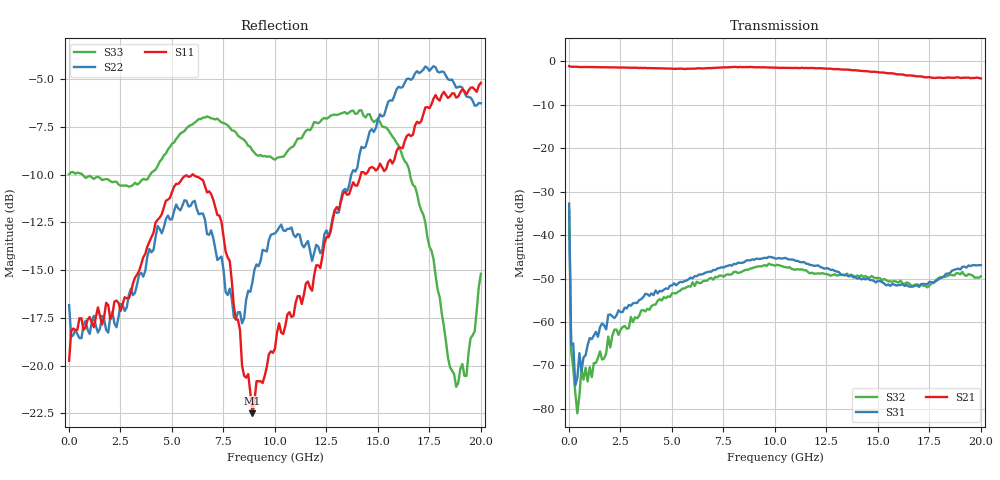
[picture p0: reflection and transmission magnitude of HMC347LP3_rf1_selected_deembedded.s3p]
!Hittite Microwave Corporation
!12 Elizabeth Drive
!Chelmsford, MA 01824
!Tel: 978-250-3343
!Fax: 978-250-3373
!Device: HMC347LP3, DC - 14 GHz GaAs MMIC SPDT Non-Reflective Switch in leadless QFN SMT package
!Misc: Port1=RFC, Port2= RF1, Port3=RF2, RF1 ON, Data includes two SRI SMA sonnectors, Bias: -5VDC
# MHZ S MA R 50
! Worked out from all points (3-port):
!   201 points, 10 MHz to 20 GHz, reference 50 ohm
!   strongest paths, dB at 10 MHz, 5.008 GHz, 10.01 GHz, 15 GHz, 20 GHz:
!     S21: -1.1, -1.7, -1.5, -2.5, -4.0
!     S31: -32.8, -51.6, -45.4, -50.5, -46.9
!     S32: -34.4, -53.4, -47.1, -49.9, -49.5
!   lowest |S11| = -22.5 dB at 8.906 GHz (marker M1), VSWR 1.16, Z = 45 + j5.05 ohm
!   |S11| at or under -10 dB: start of sweep to 5.988 GHz; 6.033 GHz to 14.17 GHz (8.137 GHz wide, 80.6 % of centre)
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10  0.103 -19.6  0.925 -1.3  0.026 40.4
    0.876 -2.3  0.144 25.5  0.005802 169.7
    0.023 60.5  0.019 74.9  0.317 176.0
109.95  0.123 -4.8  0.866 -5.1  0.0006797 74.6
        0.861 -5.1  0.119 -3.4  0.0006309 12.5
        0.000545 108.7  0.0004659 62.0  0.321 174.6
409.8  0.124 -11.1  0.862 -18.3  0.0003887 46.4
       0.862 -18.2  0.121 -12.0  0.0001733 -128.8
       0.0002279 79.0  8.903e-05 -72.4  0.32 160.6
4107.95  0.223 -120.2  0.834 -176.4  0.002114 -39.6
         0.83 -176.3  0.201 -123.3  0.001453 32.8
         0.002036 -40.2  0.001577 34.4  0.323 -18.4
6506.75  0.306 155.9  0.827 83.6  0.003524 -115.0
         0.824 83.3  0.25 159.9  0.002941 -79.3
         0.003551 -114.4  0.00294 -78.3  0.446 -109.7
8905.55  0.075 131.8  0.856 -22.0  0.005299 151.1
         0.854 -21.9  0.165 -31.6  0.004132 169.1
         0.005251 152.0  0.004154 169.7  0.366 166.0
10005  0.111 137.7  0.842 -70.9  0.005502 102.5
       0.841 -70.8  0.222 -97.3  0.004499 105.6
       0.005381 101.7  0.004428 107.3  0.346 112.1
14302.85  0.321 32.6  0.772 97.5  0.003068 -57.6
          0.768 97.4  0.371 0.2  0.003233 -73.8
          0.003156 -56.6  0.003277 -71.4  0.451 -38.7
16601.7  0.399 -117.7  0.684 -2.9  0.002628 -117.8
         0.684 -3.4  0.56 -60.1  0.00254 -151.2
         0.002543 -118.8  0.002648 -153.9  0.308 -85.4
20000  0.55 125.3  0.63 -149.2  0.004554 118.4
       0.632 -149.1  0.486 142.4  0.003054 34.8
       0.004506 119.5  0.003348 34.7  0.174 127.6
